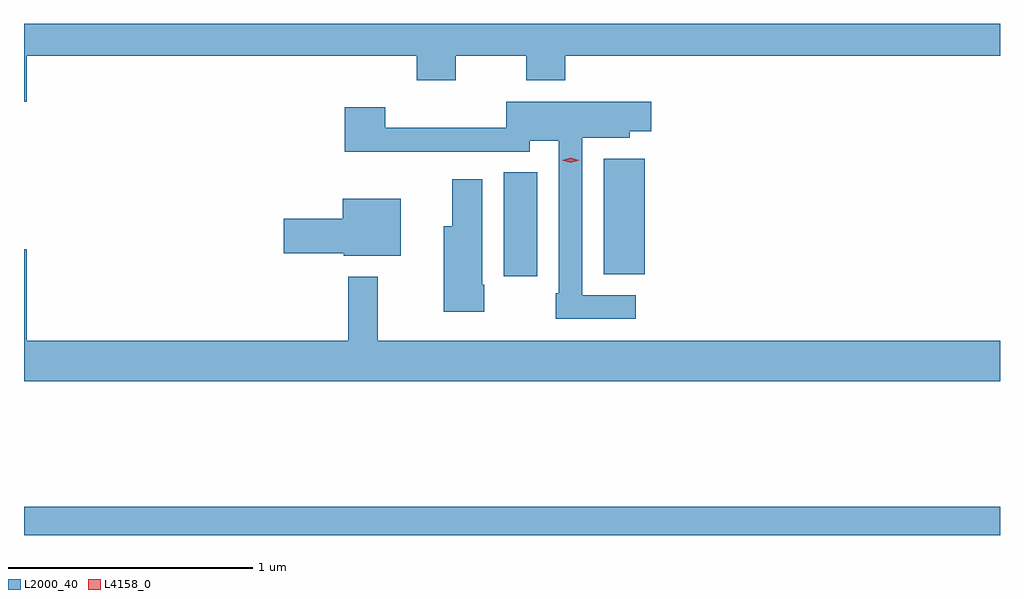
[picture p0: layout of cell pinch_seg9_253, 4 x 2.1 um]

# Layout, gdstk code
import gdstk
lib = gdstk.Library(unit=1e-6, precision=1e-09)
def R(c, l, rs):  # rectangles x0, y0, x1, y1
    for r in rs: c.add(gdstk.rectangle(r[:2], r[2:], *l))
def P(c, l, *ps):  # polygons
    for p in ps: c.add(gdstk.Polygon(p, *l))
L2000_40 = (2000, 40)
L4158_0 = (4158, 0)

pinch_seg9_253 = lib.new_cell('pinch_seg9_253')
R(pinch_seg9_253, L2000_40, [(476.848,1246.404,480.848,1246.52), (478.814,1247.466,478.951,1247.891), (479.225,1247.473,479.392,1247.947)])
P(pinch_seg9_253, L2000_40, [(476.86,1248.368),(478.457,1248.368),(478.457,1248.269),(478.617,1248.269),(478.617,1248.368),(478.906,1248.368),(478.906,1248.269),(479.066,1248.269),(479.066,1248.368),(480.848,1248.368),(480.848,1248.5),(476.848,1248.5),(476.848,1248.18),(476.86,1248.18)],
  [(479.356,1247.388),(479.136,1247.388),(479.136,1248.032),(479.331,1248.032),(479.331,1248.059),(479.419,1248.059),(479.419,1248.181),(478.824,1248.181),(478.824,1248.074),(478.328,1248.074),(478.328,1248.157),(478.163,1248.157),(478.163,1247.975),(478.411,1247.975),(478.411,1247.976),(478.92,1247.976),(478.92,1248.02),(479.04,1248.02),(479.04,1247.395),(479.028,1247.395),(479.028,1247.292),(479.356,1247.292)],
  [(478.734,1247.431),(478.726,1247.431),(478.726,1247.863),(478.604,1247.863),(478.604,1247.671),(478.568,1247.671),(478.568,1247.319),(478.734,1247.319)],
  [(478.393,1247.782),(478.154,1247.782),(478.154,1247.702),(477.912,1247.702),(477.912,1247.56),(478.158,1247.56),(478.158,1247.549),(478.393,1247.549)],
  [(480.848,1247.2),(478.298,1247.2),(478.298,1247.464),(478.177,1247.464),(478.177,1247.2),(476.86,1247.2),(476.86,1247.575),(476.848,1247.575),(476.848,1247.036),(480.848,1247.036)])
P(pinch_seg9_253, L4158_0, [(479.088,1247.931),(479.053,1247.94),(479.053,1247.941),(479.053,1247.941),(479.088,1247.951),(479.122,1247.941),(479.123,1247.941),(479.122,1247.94)])

lib.write_gds('pinch_seg9_253.gds')
